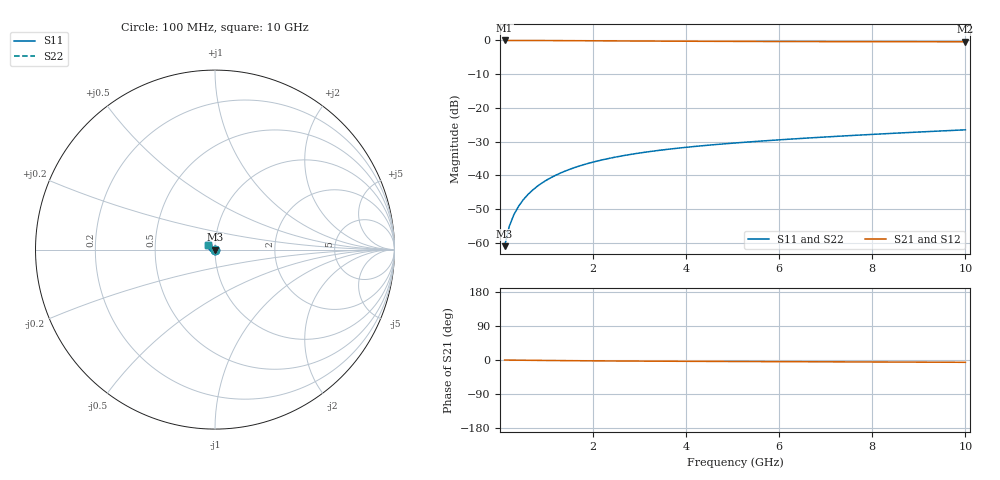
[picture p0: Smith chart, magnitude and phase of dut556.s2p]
! Touchstone file exported from HFSS 2024.1.0
!  File:  C:/UserFiles/LocalFiles/RDL_TSV_Batchsim/temp_TSV1_556_1779706734.aedt
!  Generated:  07:04:42 PM May 25, 2026
!  Design:  TSV1
!  Project:  temp_TSV1_556_1779706734
!  Setup:  Setup1
!  Solution:  Sweep
! Variables:
!  dtsv = 7.29um
!  hbump = 3um
!  htsv = 90.48um
!  lrdl = 252.1521522um
!  p = 40
!  p1 = 58.55um
!  t = 500um
!  trdl = 3um
!  wrdl = 24.89489489um
# GHz S MA R 50.000000
! Terminal data exported
! Port[1] = TSV22_T1
! Port[2] = TSV22_T2
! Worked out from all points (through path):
!   100 points, 100 MHz to 10 GHz, reference 50 ohm
!   highest |S21| = 0.00 dB at 100 MHz (marker M1); lowest = -0.4 dB at 10 GHz (marker M2)
!   lowest |S11| = -61.0 dB at 100 MHz (marker M3), VSWR 1.00, Z = 50 - j0.0879 ohm
!   |S11| at or under -10 dB: start of sweep to end of sweep
!   |S22| runs from -61.0 to -26.5 dB; largest |S21 - S12| = 7.5e-15
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0.1  0.0008919 -80.0  0.9996 -0.1  0.9996 -0.1  0.0008919 -80.0
! Gamma 0 0 0 0
! Port Impedance 50 0 50 0
0.2  0.001756 -88.4  0.9994 -0.3  0.9994 -0.3  0.001756 -88.4
0.3  0.002623 -92.8  0.9993 -0.4  0.9993 -0.4  0.002623 -92.8
0.4  0.003486 -96.2  0.999 -0.5  0.999 -0.5  0.003486 -96.2
0.5  0.004344 -99.1  0.9987 -0.6  0.9987 -0.6  0.004344 -99.1
0.6  0.005193 -101.8  0.9983 -0.8  0.9983 -0.8  0.005194 -101.8
0.7  0.006034 -104.4  0.9979 -0.9  0.9979 -0.9  0.006034 -104.4
0.8  0.006864 -106.9  0.9974 -1.0  0.9974 -1.0  0.006865 -106.9
0.9  0.007683 -109.3  0.9968 -1.1  0.9968 -1.1  0.007683 -109.3
1.1  0.009281 -114.0  0.9956 -1.3  0.9956 -1.3  0.009282 -114.0
1.4  0.01157 -120.7  0.9934 -1.6  0.9934 -1.6  0.01157 -120.7
1.6  0.01302 -124.9  0.9918 -1.8  0.9918 -1.8  0.01302 -124.9
1.8  0.0144 -129.0  0.9902 -2.0  0.9902 -2.0  0.0144 -129.0
2.1  0.01636 -134.9  0.9877 -2.3  0.9877 -2.3  0.01636 -134.9
2.5  0.01875 -142.3  0.9843 -2.6  0.9843 -2.6  0.01875 -142.3
2.9  0.02093 -149.1  0.9811 -2.9  0.9811 -2.9  0.02093 -149.1
3.4  0.02339 -156.8  0.9774 -3.1  0.9774 -3.1  0.02339 -156.8
4.2  0.02688 -167.8  0.9723 -3.6  0.9723 -3.6  0.02688 -167.8
5.1  0.03037 -178.3  0.9678 -4.0  0.9678 -4.0  0.03037 -178.3
6.7  0.03605 166.6  0.9621 -4.7  0.9621 -4.7  0.03605 166.6
8.4  0.04184 154.3  0.9581 -5.4  0.9581 -5.4  0.04184 154.3
10  0.04731 145.1  0.9555 -6.1  0.9555 -6.1  0.04731 145.2
